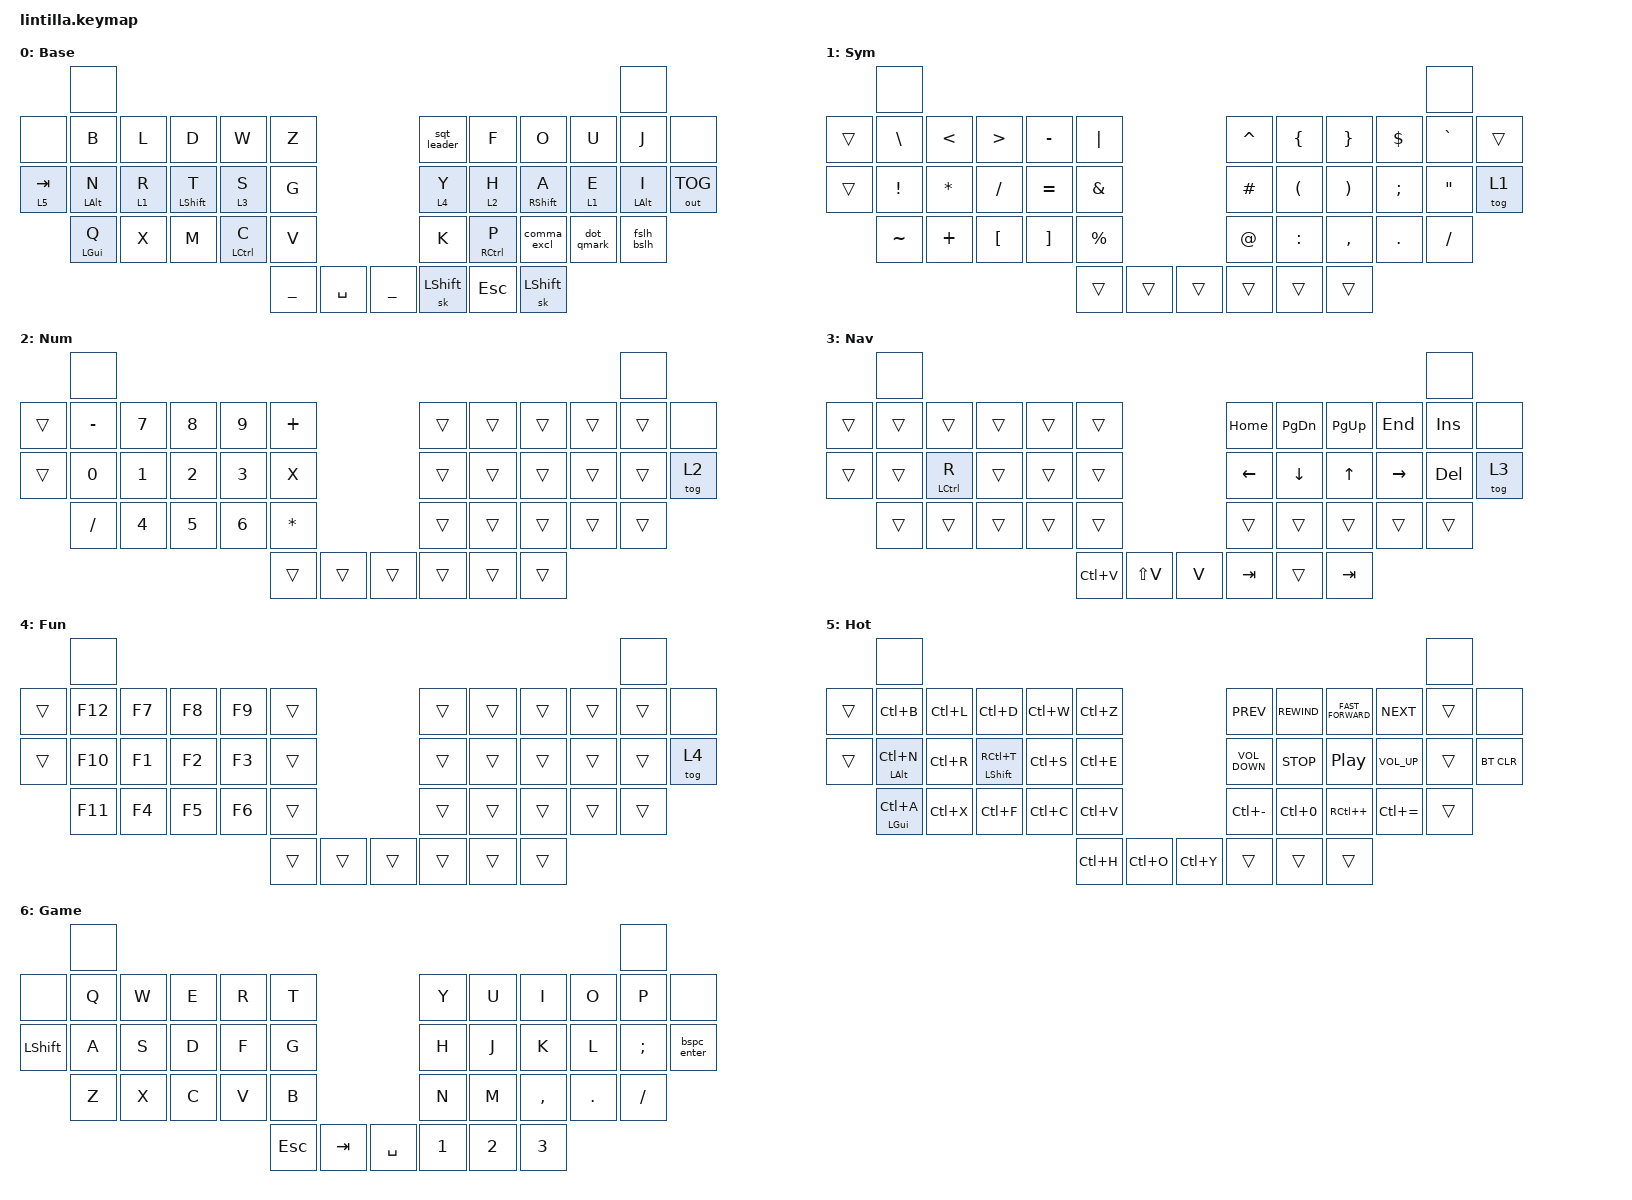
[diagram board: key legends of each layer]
#include <behaviors/rgbled_widget.dtsi>
#include <behaviors.dtsi>
#include <dt-bindings/zmk/bt.h>
#include <dt-bindings/zmk/keys.h>
#include <dt-bindings/zmk/outputs.h>
#include "leader.dtsi"

#define Base        0
#define Nav         1
#define Sym         2
#define Fun         3
#define Game        4

&mt {
    flavor = "balanced";
    tapping-term-ms = <200>;
};

&lt {
    tapping-term-ms = <200>;
    flavor = "balanced";
};

&sk {
    quick-release;
    release-after-ms = <1500>;
};

/ {
    behaviors {
        comma_excl: comma_excl {
            compatible = "zmk,behavior-mod-morph";
            label = "COMMA_EXCL";
            bindings = <&kp COMMA>, <&kp EXCL>;

            #binding-cells = <0>;
            mods = <(MOD_LSFT|MOD_RSFT)>;
        };

        dot_qmark: dot_qmark {
            compatible = "zmk,behavior-mod-morph";
            label = "DOT_QMARK";
            bindings = <&kp DOT>, <&kp QUESTION>;

            #binding-cells = <0>;
            mods = <(MOD_LSFT|MOD_RSFT)>;
        };

        fslh_bslh: fslh_bslh {
            compatible = "zmk,behavior-mod-morph";
            label = "FSLH_BSLH";
            bindings = <&hmr RGUI SLASH>, <&hmr RGUI BACKSLASH>;

            #binding-cells = <0>;
            mods = <(MOD_LSFT|MOD_RSFT)>;
        };

        rep_adapt: rep_adapt {
            compatible = "zmk,behavior-adaptive-key";
            #binding-cells = <0>;
            bindings = <&key_repeat>;

            ao {
                trigger-keys = <A>;
                bindings = <&kp O>;
            };

            oa {
                trigger-keys = <O>;
                bindings = <&kp A>;
            };

            ue {
                trigger-keys = <U>;
                bindings = <&kp E>;
            };

            eu {
                trigger-keys = <E>;
                bindings = <&kp U>;
            };

            br {
                trigger-keys = <B>;
                bindings = <&kp R>;
            };

            ph {
                trigger-keys = <P>;
                bindings = <&kp H>;
            };

            sc {
                trigger-keys = <S>;
                bindings = <&kp C>;
            };

            gs {
                trigger-keys = <G>;
                bindings = <&kp S>;
            };
        };

        hml: homerow_mod_left {
            compatible = "zmk,behavior-hold-tap";
            label = "HOMEROW_MOD_LEFT";
            bindings = <&kp>, <&kp>;

            #binding-cells = <2>;
            tapping-term-ms = <240>;
            flavor = "balanced";
            hold-trigger-key-positions = <8 9 11 12 13 20 21 22 23 24 25 31 32 33 34 35 40 41 39 10 1 38 37 36 0>;
            hold-trigger-on-release;
        };

        hmr: homerow_mod_right {
            compatible = "zmk,behavior-hold-tap";
            label = "HOMEROW_MOD_RIGHT";
            bindings = <&kp>, <&kp>;

            #binding-cells = <2>;
            tapping-term-ms = <240>;
            flavor = "balanced";
            hold-trigger-key-positions = <0 36 37 38 0 2 3 4 5 6 7 14 15 16 17 18 19 26 27 28 29 30 36 1 41 40 39>;
            hold-trigger-on-release;
        };

        htl: homerow_tap_left {
            compatible = "zmk,behavior-hold-tap";
            label = "HOMEROW_TAP_LEFT";
            bindings = <&mo>, <&kp>;

            #binding-cells = <2>;
            tapping-term-ms = <240>;
            flavor = "balanced";
            hold-trigger-key-positions = <8 9 11 12 13 20 21 22 23 24 25 31 32 33 34 35 39 40 41 10 1 37 36 38 0>;
            hold-trigger-on-release;
        };

        htr: homrow_tap_right {
            compatible = "zmk,behavior-hold-tap";
            label = "HOMEROW_TAP_RIGHT";
            bindings = <&mo>, <&kp>;

            #binding-cells = <2>;
            tapping-term-ms = <240>;
            flavor = "balanced";
            hold-trigger-key-positions = <36 37 38 39 40 0 0 2 3 4 5 6 7 14 15 16 17 18 19 26 27 28 29 30 36 37 41 1>;
            hold-trigger-on-release;
        };

        bspc_enter: bspc_enter {
            compatible = "zmk,behavior-mod-morph";
            label = "BSPC_ENTER";
            bindings = <&kp BACKSPACE>, <&kp ENTER>;

            #binding-cells = <0>;
            mods = <(MOD_LSFT)>;
        };

        sqt_caps: sqt_caps {
            compatible = "zmk,behavior-mod-morph";
            label = "SQT_CAPS";
            bindings = <&kp SINGLE_QUOTE>, <&caps_word>;

            #binding-cells = <0>;
            mods = <(MOD_LSFT|MOD_RSFT)>;
        };

        dqt_grv: dqt_grv {
            compatible = "zmk,behavior-mod-morph";
            label = "DQT_GRV";
            bindings = <&hmr RGUI DOUBLE_QUOTES>, <&hmr RGUI GRAVE>;

            #binding-cells = <0>;
            mods = <(MOD_LSFT|MOD_RSFT)>;
        };

        sqt_leader: sqt_leader {
            compatible = "zmk,behavior-mod-morph";
            label = "SQT_LEADER";
            bindings = <&kp SINGLE_QUOTE>, <&leader>;

            #binding-cells = <0>;
            mods = <(MOD_LSFT|MOD_RSFT)>;
        };

        tm: thumb_mod {
            compatible = "zmk,behavior-hold-tap";
            label = "THUMB_MOD";
            bindings = <&kp>, <&kp>;

            #binding-cells = <2>;
            flavor = "balanced";
            tapping-term-ms = <280>;
        };

        tl: thumb_tap {
            compatible = "zmk,behavior-hold-tap";
            label = "THUMB_TAP";
            bindings = <&mo>, <&kp>;

            #binding-cells = <2>;
            tapping-term-ms = <280>;
            flavor = "balanced";
        };
    };

    macros {
        M_Updir: M_Updir {
            compatible = "zmk,behavior-macro";
            #binding-cells = <0>;
            bindings = <&kp DOT &kp DOT &kp FSLH>;
            label = "M_UPDIR";
            wait-ms = <0>;
            tap-ms = <5>;
        };
    };

    combos {
        compatible = "zmk,combos";

        C_Backspace {
            bindings = <&kp BACKSPACE>;
            key-positions = <27 28>;
            timeout-ms = <60>;
        };

        C_Tab {
            bindings = <&kp TAB>;
            key-positions = <16 17>;
            timeout-ms = <25>;
            require-prior-idle-ms = <150>;
        };

        C_STab {
            bindings = <&kp LS(TAB)>;
            key-positions = <22 23>;
            timeout-ms = <25>;
            require-prior-idle-ms = <150>;
        };

        C_CapsWord {
            bindings = <&caps_word>;
            key-positions = <22 21>;
            timeout-ms = <25>;
            require-prior-idle-ms = <150>;
        };

        C_Enter {
            bindings = <&kp ENTER>;
            key-positions = <33 34>;
            timeout-ms = <30>;
            require-prior-idle-ms = <150>;
        };
    };

    keymap {
        compatible = "zmk,keymap";

        Base {
            display-name = "Base";
            bindings = <
           &none                                                                                                                                                   &none
&none      &kp B        &kp L     &kp D         &kp W         &kp Z                                           &sqt_leader  &kp F         &kp O         &kp U       &kp J        &none
&lt 5 TAB  &hml LALT N  &htl 1 R  &hml LSHFT T  &htl 3 S      &kp G                                           &htr 4 Y     &htr 2 H      &hmr RSHFT A  &htr 1 E    &hmr LALT I  &out OUT_TOG
           &hml LGUI Q  &kp X     &kp M         &hml LCTRL C  &kp V                                           &kp K        &hmr RCTRL P  &comma_excl   &dot_qmark  &fslh_bslh
                                                             &kp UNDER &kp SPACE &kp UNDER &sk LSHIFT &kp ESCAPE &sk LSHIFT
            >;
        }; 

        Sym {
            display-name = "Sym";
            bindings = <
        &none                                                                                                                                                                              &none
&trans  &kp BACKSLASH  &kp LT     &kp GT            &kp MINUS          &kp PIPE                                   &kp CARET    &kp LEFT_BRACE        &kp RIGHT_BRACE        &kp DOLLAR     &kp GRAVE          &trans
&trans  &kp EXCL       &kp ASTRK  &kp SLASH         &kp EQUAL          &kp AMPS                                   &kp HASH     &kp LEFT_PARENTHESIS  &kp RIGHT_PARENTHESIS  &kp SEMICOLON  &kp DOUBLE_QUOTES  &tog 1
        &kp TILDE      &kp PLUS   &kp LEFT_BRACKET  &kp RIGHT_BRACKET  &kp PRCNT                                  &kp AT_SIGN  &kp COLON             &kp COMMA              &kp PERIOD     &kp SLASH
                                                                       &trans     &trans  &trans  &trans  &trans  &trans
            >;
        };

        Num {
            display-name = "Num";
            bindings = <
        &none                                                                                                                                 &none
&trans  &kp MINUS     &kp N7        &kp N8        &kp N9        &kp PLUS                                      &trans  &trans  &trans  &trans  &trans  &none
&trans  &kp NUMBER_0  &kp NUMBER_1  &kp NUMBER_2  &kp NUMBER_3  &kp X                                         &trans  &trans  &trans  &trans  &trans  &tog 2
        &kp SLASH     &kp NUMBER_4  &kp NUMBER_5  &kp NUMBER_6  &kp ASTERISK                                  &trans  &trans  &trans  &trans  &trans
                                                                &trans        &trans  &trans  &trans  &trans  &trans
            >;
        };

        Nav {
            display-name = "Nav";
            bindings = <
        &none                                                                                                                                  &none
&trans  &trans  &trans        &trans  &trans  &trans                                         &kp HOME  &kp PAGE_DOWN  &kp PAGE_UP   &kp END    &kp INSERT  &none
&trans  &trans  &hml LCTRL R  &trans  &trans  &trans                                         &kp LEFT  &kp DOWN       &kp UP_ARROW  &kp RIGHT  &kp DELETE  &tog 3
        &trans  &trans        &trans  &trans  &trans                                         &trans    &trans         &trans        &trans     &trans
                                               &kp LC(V)  &kp LS(V) &kp V    &kp TAB  &trans  &kp TAB
            >;
        };

        Fun {
            display-name = "Fun";
            bindings = <
        &none                                                                                                    &none
&trans  &kp F12  &kp F7  &kp F8  &kp F9  &trans                                  &trans  &trans  &trans  &trans  &trans  &none
&trans  &kp F10  &kp F1  &kp F2  &kp F3  &trans                                  &trans  &trans  &trans  &trans  &trans  &tog 4
        &kp F11  &kp F4  &kp F5  &kp F6  &trans                                  &trans  &trans  &trans  &trans  &trans
                                         &trans  &trans  &trans  &trans  &trans  &trans
            >;
        };

        Hot {
            display-name = "Hot";
            bindings = <
        &none                                                                                                                                                                                &none
&trans  &kp LC(B)        &kp LC(L)  &kp LC(D)              &kp LC(W)  &kp LC(Z)                                        &kp C_PREV         &kp C_REWIND  &kp C_FAST_FORWARD  &kp C_NEXT       &trans  &none
&trans  &hml LALT LC(N)  &kp LC(R)  &hml LEFT_SHIFT RC(T)  &kp LC(S)  &kp LC(E)                                        &kp C_VOLUME_DOWN  &kp C_STOP    &kp C_PLAY_PAUSE    &kp C_VOLUME_UP  &trans  &bt BT_CLR
        &hml LGUI LC(A)  &kp LC(X)  &kp LC(F)              &kp LC(C)  &kp LC(V)                                        &kp LC(MINUS)      &kp LC(N0)    &kp RC(PLUS)        &kp LC(EQUAL)    &trans
                                                                      &kp LC(H)  &kp LC(O)  &kp LC(Y)  &trans  &trans  &trans
            >;
        };

        Game {
            display-name = "Game";
            bindings = <
           &none                                                                                                                         &none
&none      &kp Q  &kp W  &kp E  &kp R  &kp T                                                    &kp Y         &kp U  &kp I      &kp O    &kp P     &none
&kp LSHFT  &kp A  &kp S  &kp D  &kp F  &kp G                                                    &kp H         &kp J  &kp K      &kp L    &kp SEMI  &bspc_enter
           &kp Z  &kp X  &kp C  &kp V  &kp B                                                    &kp N         &kp M  &kp COMMA  &kp DOT  &kp FSLH
                                       &kp ESC  &kp TAB  &kp SPACE  &kp NUMBER_1  &kp NUMBER_2  &kp NUMBER_3
            >;
        };
    };
};
